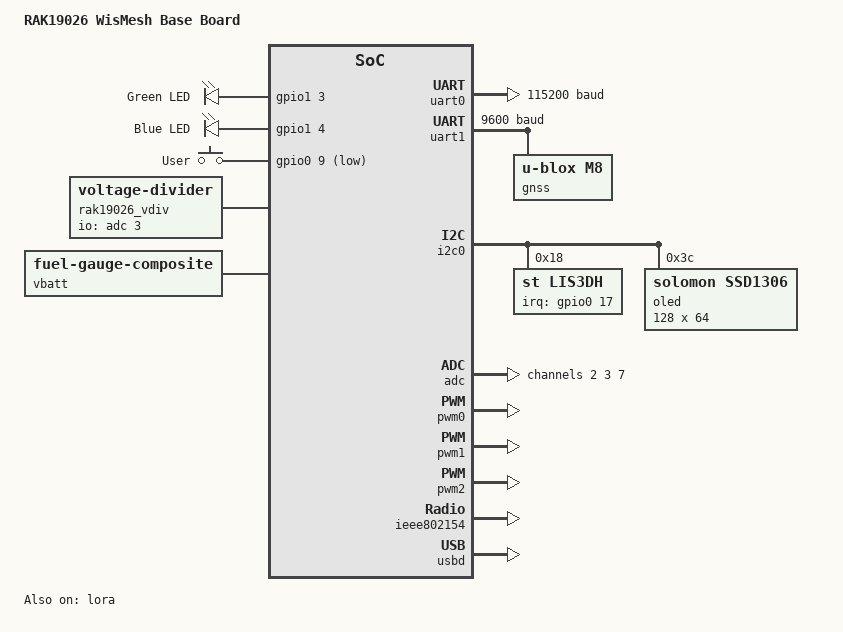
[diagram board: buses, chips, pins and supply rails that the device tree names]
/*
 * SPDX-FileCopyrightText: Copyright (c) 2026 RAKwireless Technology Limited
 * SPDX-License-Identifier: Apache-2.0
 */

/dts-v1/;
#include <rakwireless/rak4630.dtsi>
#include "rak19026-pinctrl.dtsi"

#include <zephyr/dt-bindings/battery/battery.h>
#include <zephyr/dt-bindings/input/input-event-codes.h>

/ {
	compatible = "rakwireless,rak19026";
	model = "RAK19026 WisMesh Base Board";

	chosen {
		zephyr,sram = &sram0;
		zephyr,flash = &flash0;
		zephyr,ieee802154 = &ieee802154;
		zephyr,code-partition = &slot0_partition;
		zephyr,display = &oled;
	};

	aliases {
		lora0 = &lora;
		watchdog0 = &wdt0;
		led0 = &led_green;
		led1 = &led_blue;
		sw0 = &button_user;
		accel0 = &lis3dh;
		fuel-gauge0 = &vbatt;
		gnss = &gnss;
	};

	leds {
		compatible = "gpio-leds";

		led_green: led-0 {
			gpios = <&gpio1 3 GPIO_ACTIVE_HIGH>;
			label = "Green LED";
		};

		led_blue: led-1 {
			gpios = <&gpio1 4 GPIO_ACTIVE_HIGH>;
			label = "Blue LED";
		};
	};

	buttons {
		compatible = "gpio-keys";

		button_user: button-0 {
			gpios = <&gpio0 9 (GPIO_PULL_UP | GPIO_ACTIVE_LOW)>;
			label = "User";
			zephyr,code = <INPUT_KEY_0>;
		};
	};

	rak19026_vdiv: vdiv {
		compatible = "voltage-divider";
		io-channels = <&adc 3>;
		output-ohms = <1500000>;
		full-ohms = <2500000>;
		skip-calibration;
	};

	vbatt: vbatt {
		compatible = "zephyr,fuel-gauge-composite";
		source-primary = <&rak19026_vdiv>;
		device-chemistry = "lithium-ion-polymer";
		ocv-capacity-table-0 = <BATTERY_OCV_CURVE_LITHIUM_ION_POLYMER_DEFAULT>;
	};
};

&flash0 {
	status = "okay";

	partitions {
		ranges;
		#address-cells = <1>;
		#size-cells = <1>;

		boot_partition: partition@0 {
			compatible = "zephyr,mapped-partition";
			reg = <0x00000000 0x00010000>;
			label = "mcuboot";
		};

		slot0_partition: partition@10000 {
			compatible = "zephyr,mapped-partition";
			reg = <0x00010000 0x00060000>;
			label = "image-0";
		};

		slot1_partition: partition@70000 {
			compatible = "zephyr,mapped-partition";
			reg = <0x00070000 0x00060000>;
			label = "image-1";
		};

		storage_partition: partition@d0000 {
			compatible = "zephyr,mapped-partition";
			reg = <0x000d0000 0x00030000>;
			label = "storage";
		};
	};
};

&gpiote {
	status = "okay";
};

&gpio0 {
	status = "okay";
};

&gpio1 {
	status = "okay";
};

&uart0 {
	pinctrl-0 = <&uart0_default>;
	pinctrl-1 = <&uart0_sleep>;
	pinctrl-names = "default", "sleep";
	current-speed = <115200>;
};

&uart1 {
	pinctrl-0 = <&uart1_default>;
	pinctrl-1 = <&uart1_sleep>;
	pinctrl-names = "default", "sleep";
	current-speed = <9600>;
	status = "okay";

	gnss: gnss {
		compatible = "u-blox,m8";
		power-domains = <&wisblock_3v3_s>;
	};
};

&i2c0 {
	compatible = "nordic,nrf-twi";
	pinctrl-0 = <&i2c0_default>;
	pinctrl-1 = <&i2c0_sleep>;
	pinctrl-names = "default", "sleep";
	status = "okay";

	lis3dh: lis3dh@18 {
		compatible = "st,lis3dh", "st,lis2dh";
		reg = <0x18>;
		irq-gpios = <&gpio0 17 GPIO_ACTIVE_HIGH>;
	};

	oled: ssd1306@3c {
		compatible = "solomon,ssd1306";
		reg = <0x3c>;
		width = <128>;
		height = <64>;
		segment-offset = <0>;
		page-offset = <0>;
		display-offset = <0>;
		multiplex-ratio = <63>;
		segment-remap;
		com-invdir;
		prechargep = <0x22>;
	};
};

&i2c1 {
	pinctrl-0 = <&i2c1_default>;
	pinctrl-1 = <&i2c1_sleep>;
	pinctrl-names = "default", "sleep";
};

&spi2 {
	pinctrl-0 = <&spi2_default>;
	pinctrl-1 = <&spi2_sleep>;
	pinctrl-names = "default", "sleep";

	cs-gpios = <&gpio0 26 GPIO_ACTIVE_LOW>;
};

&adc {
	#address-cells = <1>;
	#size-cells = <0>;
	status = "okay";

	channel@2 {
		reg = <2>;
		zephyr,gain = "ADC_GAIN_1_6";
		zephyr,resolution = <12>;
		zephyr,reference = "ADC_REF_INTERNAL";
		zephyr,acquisition-time = <ADC_ACQ_TIME_MAX>;
		zephyr,input-positive = <NRF_SAADC_AIN2>;
	};

	channel@3 {
		reg = <3>;
		zephyr,gain = "ADC_GAIN_1_6";
		zephyr,resolution = <12>;
		zephyr,reference = "ADC_REF_INTERNAL";
		zephyr,acquisition-time = <ADC_ACQ_TIME_MAX>;
		zephyr,input-positive = <NRF_SAADC_AIN3>;
	};

	channel@7 {
		reg = <7>;
		zephyr,gain = "ADC_GAIN_1_6";
		zephyr,resolution = <12>;
		zephyr,reference = "ADC_REF_INTERNAL";
		zephyr,acquisition-time = <ADC_ACQ_TIME_MAX>;
		zephyr,input-positive = <NRF_SAADC_AIN7>;
	};
};

&pwm0 {
	pinctrl-0 = <&pwm0_default>;
	pinctrl-1 = <&pwm0_sleep>;
	pinctrl-names = "default", "sleep";
	status = "okay";
};

&pwm1 {
	pinctrl-0 = <&pwm1_default>;
	pinctrl-1 = <&pwm1_sleep>;
	pinctrl-names = "default", "sleep";
	status = "okay";
};

&pwm2 {
	pinctrl-0 = <&pwm2_default>;
	pinctrl-1 = <&pwm2_sleep>;
	pinctrl-names = "default", "sleep";
	status = "okay";
};

&uicr {
	gpio-as-nreset;
	nfct-pins-as-gpios;
};

&ieee802154 {
	status = "okay";
};

&lora {
	status = "okay";
};

zephyr_udc0: &usbd {
	status = "okay";
};

#include <../boards/common/usb/cdc_acm_serial.dtsi>

#include "wisblock.dtsi"
